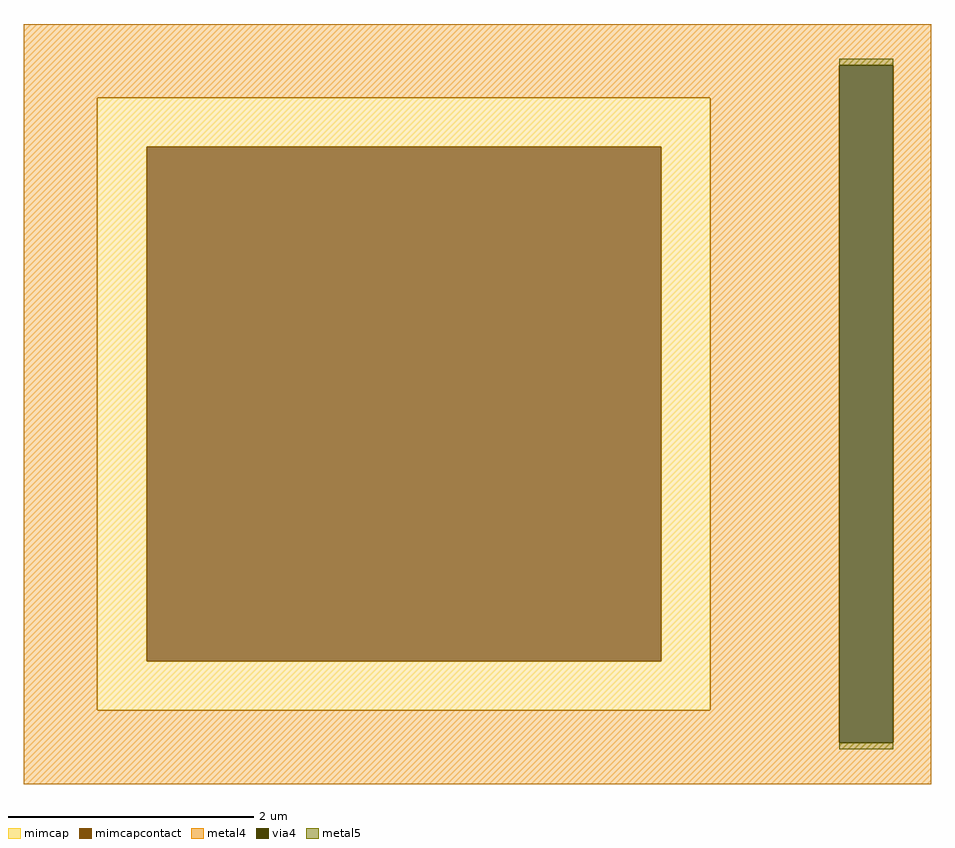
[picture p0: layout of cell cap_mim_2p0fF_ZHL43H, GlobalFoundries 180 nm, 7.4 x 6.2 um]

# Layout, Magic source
magic
tech gf180mcuD
magscale 1 10
<< mimcap >>
rect -620 420 380 500
rect -620 -420 -540 420
rect 300 -420 380 420
rect -620 -500 380 -420
<< mimcapcontact >>
rect -540 -420 300 420
<< metal4 >>
rect -740 553 740 620
rect -740 500 590 553
rect -740 -500 -620 500
rect 380 -500 590 500
rect -740 -553 590 -500
rect 678 -553 740 553
rect -740 -620 740 -553
<< via4 >>
rect 590 -553 678 553
<< metal5 >>
rect 590 553 678 563
rect 590 -563 678 -553
<< properties >>
string FIXED_BBOX -740 -620 500 620
string gencell cap_mim_2p0fF
string library gf180mcu
string parameters w 5.00 l 5.00 val 1.025k carea 25.00 cperi 20.00 class capacitor nx 1 ny 1 dummy 0 square 0 lmin 5.00 wmin 5.00 lmax 100.0 wmax 100.0 dc 0 bconnect 1 tconnect 1
<< end >>
